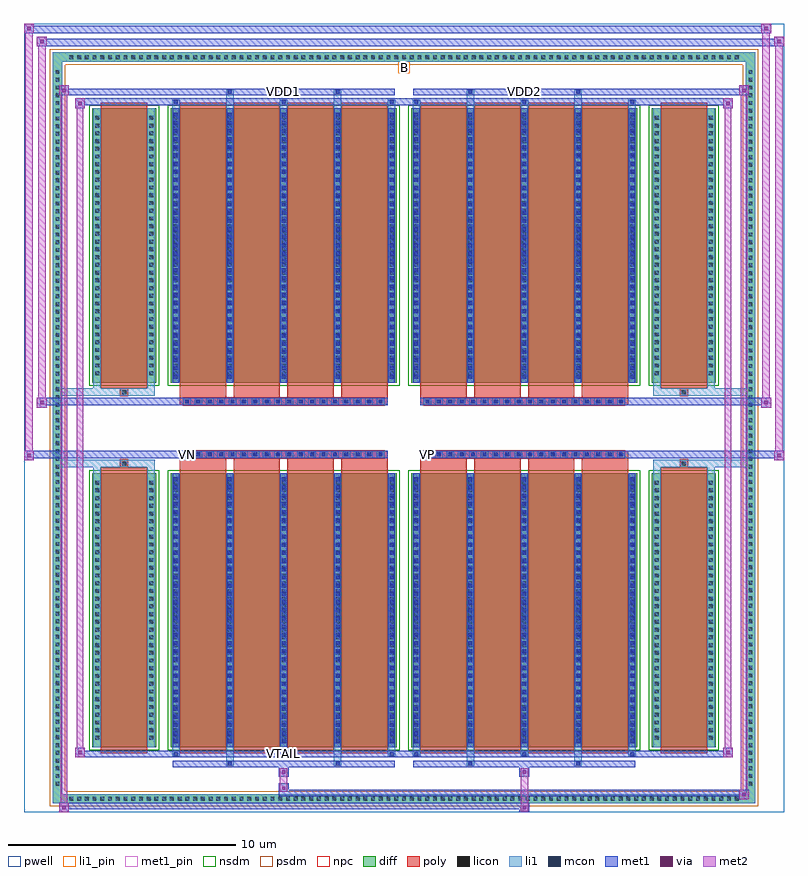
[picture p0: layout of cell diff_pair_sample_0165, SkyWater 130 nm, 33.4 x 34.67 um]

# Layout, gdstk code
import gdstk
lib = gdstk.Library(unit=1e-6, precision=5e-09)
def R(c, l, rs):  # rectangles x0, y0, x1, y1
    for r in rs: c.add(gdstk.rectangle(r[:2], r[2:], *l))
def A(c, l, x, y, w, h, nx, ny, dx, dy):  # array of equal rectangles
    R(c, l, [(x+i*dx, y+j*dy, x+i*dx+w, y+j*dy+h) for i in range(nx) for j in range(ny)])
def P(c, l, *ps):  # polygons
    for p in ps: c.add(gdstk.Polygon(p, *l))
pwell = (64, 44)
diff = (65, 20)
poly = (66, 20)
licon = (66, 44)
li1_pin = (67, 16)
li1 = (67, 20)
mcon = (67, 44)
met1_pin = (68, 16)
met1 = (68, 20)
via = (68, 44)
met2 = (69, 20)
nsdm = (93, 44)
psdm = (94, 20)
npc = (95, 20)

diff_pair_sample_0165 = lib.new_cell('diff_pair_sample_0165')
R(diff_pair_sample_0165, pwell, [(-16.7,-16.9,16.7,17.77), (-14.02,-15.09,-0.01,-0.795), (0.01,-15.09,14.02,-0.795), (-14.02,0.795,-0.01,15.09), (0.01,0.795,14.02,15.09)])
A(diff_pair_sample_0165, diff, -14.825, -16.5, 0.41, 0.41, 87, 2, 0.34, 32.59)
A(diff_pair_sample_0165, diff, -15.43, -15.845, 0.41, 0.41, 1, 93, 0, 0.34)
A(diff_pair_sample_0165, diff, 15.02, -15.845, 0.41, 0.41, 1, 93, 0, 0.34)
R(diff_pair_sample_0165, diff, [(-14.825,-16.5,14.825,-16.09), (-15.43,-15.845,-15.02,15.845), (15.02,-15.845,15.43,15.845), (-13.71,-14.045,-10.89,-1.985), (-10.25,-14.045,-0.32,-1.985), (0.32,-14.045,10.25,-1.985), (10.89,-14.045,13.71,-1.985), (-13.71,1.985,-10.89,14.045), (-10.25,1.985,-0.32,14.045), (0.32,1.985,10.25,14.045), (10.89,1.985,13.71,14.045), (-14.825,16.09,14.825,16.5)])
P(diff_pair_sample_0165, diff, [(15.43,16.5),(-15.43,16.5),(-15.43,-16.09),(-15.02,-16.09),(-15.02,16.09),(15.02,16.09),(15.02,-16.09),(-15.02,-16.09),(-15.43,-16.09),(-15.43,-16.5),(15.43,-16.5)])
A(diff_pair_sample_0165, poly, -9.86, -14.295, 2.04, 12.56, 4, 2, 2.37, 16.03)
A(diff_pair_sample_0165, poly, 0.71, -14.295, 2.04, 12.56, 4, 2, 2.37, 16.03)
A(diff_pair_sample_0165, poly, -9.86, -1.735, 2.04, 0.41, 4, 2, 2.37, 3.06)
A(diff_pair_sample_0165, poly, 0.71, -1.735, 2.04, 0.41, 4, 2, 2.37, 3.06)
A(diff_pair_sample_0165, poly, -9.7, -1.325, 0.33, 0.33, 18, 2, 0.5, 2.32)
A(diff_pair_sample_0165, poly, 0.87, -1.325, 0.33, 0.33, 18, 2, 0.5, 2.32)
R(diff_pair_sample_0165, poly, [(-13.32,-14.295,-11.28,-1.735), (11.28,-14.295,13.32,-1.735), (-12.465,-1.735,-12.135,-1.405), (-12.465,-1.735,-12.135,-1.405), (12.135,-1.735,12.465,-1.405), (12.135,-1.735,12.465,-1.405), (-9.86,-1.325,-0.71,-0.995), (0.71,-1.325,9.86,-0.995), (-9.86,0.995,-0.71,1.325), (0.71,0.995,9.86,1.325), (-12.465,1.405,-12.135,1.735), (-12.465,1.405,-12.135,1.735), (12.135,1.405,12.465,1.735), (12.135,1.405,12.465,1.735), (-13.32,1.735,-11.28,14.295), (11.28,1.735,13.32,14.295)])
A(diff_pair_sample_0165, licon, -14.705, -16.38, 0.17, 0.17, 87, 2, 0.34, 32.59)
A(diff_pair_sample_0165, licon, -15.31, -15.725, 0.17, 0.17, 1, 93, 0, 0.34)
A(diff_pair_sample_0165, licon, 15.14, -15.725, 0.17, 0.17, 1, 93, 0, 0.34)
A(diff_pair_sample_0165, licon, -13.57, -13.71, 0.17, 0.17, 1, 34, 0, 0.34)
A(diff_pair_sample_0165, licon, -11.2, -13.71, 0.17, 0.17, 1, 34, 0, 0.34)
A(diff_pair_sample_0165, licon, -10.11, -13.71, 0.17, 0.17, 5, 34, 2.37, 0.34)
A(diff_pair_sample_0165, licon, 0.46, -13.71, 0.17, 0.17, 5, 34, 2.37, 0.34)
A(diff_pair_sample_0165, licon, 11.03, -13.71, 0.17, 0.17, 1, 34, 0, 0.34)
A(diff_pair_sample_0165, licon, 13.4, -13.71, 0.17, 0.17, 1, 34, 0, 0.34)
A(diff_pair_sample_0165, licon, -9.62, -1.245, 0.17, 0.17, 18, 2, 0.5, 2.32)
A(diff_pair_sample_0165, licon, 0.95, -1.245, 0.17, 0.17, 18, 2, 0.5, 2.32)
A(diff_pair_sample_0165, licon, -13.57, 2.32, 0.17, 0.17, 1, 34, 0, 0.34)
A(diff_pair_sample_0165, licon, -11.2, 2.32, 0.17, 0.17, 1, 34, 0, 0.34)
A(diff_pair_sample_0165, licon, -10.11, 2.32, 0.17, 0.17, 5, 34, 2.37, 0.34)
A(diff_pair_sample_0165, licon, 0.46, 2.32, 0.17, 0.17, 5, 34, 2.37, 0.34)
A(diff_pair_sample_0165, licon, 11.03, 2.32, 0.17, 0.17, 1, 34, 0, 0.34)
A(diff_pair_sample_0165, licon, 13.4, 2.32, 0.17, 0.17, 1, 34, 0, 0.34)
R(diff_pair_sample_0165, licon, [(-12.385,-1.655,-12.215,-1.485), (12.215,-1.655,12.385,-1.485), (-12.385,1.485,-12.215,1.655), (12.215,1.485,12.385,1.655)])
R(diff_pair_sample_0165, li1_pin, [(-0.25,15.59,0.25,16.09)])
A(diff_pair_sample_0165, li1, -14.785, -16.46, 0.33, 0.33, 87, 2, 0.34, 32.59)
A(diff_pair_sample_0165, li1, -15.39, -15.805, 0.33, 0.33, 1, 93, 0, 0.34)
A(diff_pair_sample_0165, li1, 15.06, -15.805, 0.33, 0.33, 1, 93, 0, 0.34)
A(diff_pair_sample_0165, li1, -10.19, -14.42, 0.33, 0.375, 3, 2, 4.74, 28.465)
A(diff_pair_sample_0165, li1, -10.11, -14.42, 0.17, 0.17, 3, 2, 4.74, 28.67)
A(diff_pair_sample_0165, li1, 0.38, -14.42, 0.33, 0.375, 3, 2, 4.74, 28.465)
A(diff_pair_sample_0165, li1, 0.46, -14.42, 0.17, 0.17, 3, 2, 4.74, 28.67)
A(diff_pair_sample_0165, li1, -10.19, -14.045, 0.33, 12.06, 5, 2, 2.37, 16.03)
A(diff_pair_sample_0165, li1, 0.38, -14.045, 0.33, 12.06, 5, 2, 2.37, 16.03)
A(diff_pair_sample_0165, li1, -10.11, -13.86, 0.17, 0.17, 5, 33, 2.37, 0.36)
A(diff_pair_sample_0165, li1, -10.11, -13.86, 0.17, 11.69, 5, 2, 2.37, 16.03)
A(diff_pair_sample_0165, li1, 0.46, -13.86, 0.17, 0.17, 5, 33, 2.37, 0.36)
A(diff_pair_sample_0165, li1, 0.46, -13.86, 0.17, 11.69, 5, 2, 2.37, 16.03)
A(diff_pair_sample_0165, li1, -13.65, -13.79, 0.33, 0.33, 1, 34, 0, 0.34)
A(diff_pair_sample_0165, li1, -11.28, -13.79, 0.33, 0.33, 1, 34, 0, 0.34)
A(diff_pair_sample_0165, li1, -10.19, -13.79, 0.33, 0.33, 5, 34, 2.37, 0.34)
A(diff_pair_sample_0165, li1, 0.38, -13.79, 0.33, 0.33, 5, 34, 2.37, 0.34)
A(diff_pair_sample_0165, li1, 10.95, -13.79, 0.33, 0.33, 1, 34, 0, 0.34)
A(diff_pair_sample_0165, li1, 13.32, -13.79, 0.33, 0.33, 1, 34, 0, 0.34)
A(diff_pair_sample_0165, li1, -9.7, -1.325, 0.33, 0.33, 18, 2, 0.5, 2.32)
A(diff_pair_sample_0165, li1, 0.87, -1.325, 0.33, 0.33, 18, 2, 0.5, 2.32)
A(diff_pair_sample_0165, li1, -10.11, 2.17, 0.17, 0.17, 5, 33, 2.37, 0.36)
A(diff_pair_sample_0165, li1, 0.46, 2.17, 0.17, 0.17, 5, 33, 2.37, 0.36)
A(diff_pair_sample_0165, li1, -13.65, 2.24, 0.33, 0.33, 1, 34, 0, 0.34)
A(diff_pair_sample_0165, li1, -11.28, 2.24, 0.33, 0.33, 1, 34, 0, 0.34)
A(diff_pair_sample_0165, li1, -10.19, 2.24, 0.33, 0.33, 5, 34, 2.37, 0.34)
A(diff_pair_sample_0165, li1, 0.38, 2.24, 0.33, 0.33, 5, 34, 2.37, 0.34)
A(diff_pair_sample_0165, li1, 10.95, 2.24, 0.33, 0.33, 1, 34, 0, 0.34)
A(diff_pair_sample_0165, li1, 13.32, 2.24, 0.33, 0.33, 1, 34, 0, 0.34)
R(diff_pair_sample_0165, li1, [(-15.43,-16.5,-15.02,-16.09), (-15.43,-16.5,-15.02,-16.09), (-15.02,-16.5,15.02,-16.09), (15.02,-16.5,15.43,-16.09), (15.02,-16.5,15.43,-16.09), (-15.43,-16.09,-15.02,16.09), (15.02,-16.09,15.43,16.09), (-7.82,-14.85,-7.49,-14.045), (-7.74,-14.85,-7.57,-14.68), (-3.08,-14.85,-2.75,-14.045), (-3,-14.85,-2.83,-14.68), (2.75,-14.85,3.08,-14.045), (2.83,-14.85,3,-14.68), (7.49,-14.85,7.82,-14.045), (7.57,-14.85,7.74,-14.68), (-13.65,-14.045,-13.32,-1.985), (-11.28,-14.045,-10.95,-1.985), (10.95,-14.045,11.28,-1.985), (13.32,-14.045,13.65,-1.985), (-13.65,-1.985,-13.32,-1.405), (-11.28,-1.985,-10.95,-1.405), (10.95,-1.985,11.28,-1.405), (13.32,-1.985,13.65,-1.405), (-15.43,-1.735,-12.465,-1.405), (-13.65,-1.735,-12.465,-1.405), (-12.465,-1.735,-12.135,-1.405), (-12.135,-1.735,-10.95,-1.405), (10.95,-1.735,12.135,-1.405), (12.135,-1.735,12.465,-1.405), (12.135,-1.735,15.43,-1.405), (12.465,-1.735,13.65,-1.405), (-15.43,1.405,-12.465,1.735), (-13.65,1.405,-12.465,1.735), (-13.65,1.405,-13.32,1.985), (-12.465,1.405,-12.135,1.735), (-12.135,1.405,-10.95,1.735), (-11.28,1.405,-10.95,1.985), (10.95,1.405,12.135,1.735), (10.95,1.405,11.28,1.985), (12.135,1.405,12.465,1.735), (12.135,1.405,15.43,1.735), (12.465,1.405,13.65,1.735), (13.32,1.405,13.65,1.985), (-13.65,1.985,-13.32,14.045), (-11.28,1.985,-10.95,14.045), (10.95,1.985,11.28,14.045), (13.32,1.985,13.65,14.045), (-7.82,14.045,-7.49,14.85), (-3.08,14.045,-2.75,14.85), (2.75,14.045,3.08,14.85), (7.49,14.045,7.82,14.85), (-7.74,14.68,-7.57,14.85), (-3,14.68,-2.83,14.85), (2.83,14.68,3,14.85), (7.57,14.68,7.74,14.85), (-15.43,16.09,-15.02,16.5), (-15.43,16.09,-15.02,16.5), (-15.02,16.09,15.02,16.5), (15.02,16.09,15.43,16.5), (15.02,16.09,15.43,16.5)])
A(diff_pair_sample_0165, mcon, -10.11, -14.42, 0.17, 0.17, 3, 2, 4.74, 28.67)
A(diff_pair_sample_0165, mcon, 0.46, -14.42, 0.17, 0.17, 3, 2, 4.74, 28.67)
A(diff_pair_sample_0165, mcon, -10.11, -13.86, 0.17, 0.17, 5, 33, 2.37, 0.36)
A(diff_pair_sample_0165, mcon, 0.46, -13.86, 0.17, 0.17, 5, 33, 2.37, 0.36)
A(diff_pair_sample_0165, mcon, -9.62, -1.245, 0.17, 0.17, 18, 2, 0.5, 2.32)
A(diff_pair_sample_0165, mcon, 0.95, -1.245, 0.17, 0.17, 18, 2, 0.5, 2.32)
A(diff_pair_sample_0165, mcon, -10.11, 2.17, 0.17, 0.17, 5, 33, 2.37, 0.36)
A(diff_pair_sample_0165, mcon, 0.46, 2.17, 0.17, 0.17, 5, 33, 2.37, 0.36)
R(diff_pair_sample_0165, mcon, [(-7.74,-14.85,-7.57,-14.68), (-3,-14.85,-2.83,-14.68), (2.83,-14.85,3,-14.68), (7.57,-14.85,7.74,-14.68), (-7.74,14.68,-7.57,14.85), (-3,14.68,-2.83,14.85), (2.83,14.68,3,14.85), (7.57,14.68,7.74,14.85)])
R(diff_pair_sample_0165, met1_pin, [(-5.42,-14.46,-5.15,-14.19), (-9.67,-1.285,-9.4,-1.015), (0.9,-1.285,1.17,-1.015), (-5.42,14.64,-5.15,14.91), (5.15,14.64,5.42,14.91)])
A(diff_pair_sample_0165, met1, -10.17, -14.48, 0.29, 0.29, 3, 2, 4.74, 28.67)
A(diff_pair_sample_0165, met1, 0.4, -14.48, 0.29, 0.29, 3, 2, 4.74, 28.67)
A(diff_pair_sample_0165, met1, -10.17, -14.045, 0.29, 12.06, 5, 2, 2.37, 16.03)
A(diff_pair_sample_0165, met1, 0.4, -14.045, 0.29, 12.06, 5, 2, 2.37, 16.03)
A(diff_pair_sample_0165, met1, -10.17, -13.92, 0.29, 0.29, 5, 33, 2.37, 0.36)
A(diff_pair_sample_0165, met1, 0.4, -13.92, 0.29, 0.29, 5, 33, 2.37, 0.36)
A(diff_pair_sample_0165, met1, -9.68, -1.305, 0.29, 0.29, 18, 2, 0.5, 2.32)
A(diff_pair_sample_0165, met1, 0.89, -1.305, 0.29, 0.29, 18, 2, 0.5, 2.32)
A(diff_pair_sample_0165, met1, -10.17, 2.11, 0.29, 0.29, 5, 33, 2.37, 0.36)
A(diff_pair_sample_0165, met1, 0.4, 2.11, 0.29, 0.29, 5, 33, 2.37, 0.36)
R(diff_pair_sample_0165, met1, [(-15.16,-16.9,-14.73,-16.47), (5.07,-16.9,5.5,-16.47), (-15.16,-16.76,5.5,-16.47), (14.73,-16.33,15.16,-15.9), (-5.5,-16.19,15.16,-15.9), (-5.5,-16.05,-5.07,-15.62), (-5.5,-15.34,-5.07,-14.91), (5.07,-15.34,5.5,-14.91), (-10.17,-14.91,-0.4,-14.62), (-7.8,-14.91,-7.51,-14.62), (-3.06,-14.91,-2.77,-14.62), (0.4,-14.91,10.17,-14.62), (2.77,-14.91,3.06,-14.62), (7.51,-14.91,7.8,-14.62), (-14.45,-14.48,-14.02,-14.05), (-14.45,-14.48,-10.17,-14.19), (-10.17,-14.48,-0.4,-14.19), (-0.4,-14.48,0.4,-14.19), (0.4,-14.48,10.17,-14.19), (10.17,-14.48,14.45,-14.19), (14.02,-14.48,14.45,-14.05), (-16.7,-1.425,-16.27,-0.995), (16.27,-1.425,16.7,-0.995), (-16.7,-1.325,-0.71,-0.995), (-9.86,-1.325,-0.71,-0.995), (0.71,-1.325,9.86,-0.995), (0.71,-1.325,16.7,-0.995), (-16.13,0.895,-15.7,1.325), (15.7,0.895,16.13,1.325), (-16.13,0.995,-9.86,1.325), (-9.86,0.995,-0.71,1.325), (0.71,0.995,9.86,1.325), (9.86,0.995,16.13,1.325), (-14.45,14.05,-14.02,14.48), (14.02,14.05,14.45,14.48), (-14.45,14.19,-10.17,14.48), (-10.17,14.19,-0.4,14.48), (-0.4,14.19,0.4,14.48), (0.4,14.19,10.17,14.48), (10.17,14.19,14.45,14.48), (-15.16,14.62,-14.73,15.05), (-15.16,14.62,-10.17,14.91), (-10.17,14.62,-0.4,14.91), (-7.8,14.62,-7.51,14.91), (-3.06,14.62,-2.77,14.91), (0.4,14.62,10.17,14.91), (2.77,14.62,3.06,14.91), (7.51,14.62,7.8,14.91), (10.17,14.62,15.16,14.91), (14.73,14.62,15.16,15.05), (-16.13,16.77,-15.7,17.2), (-16.13,16.77,-14.02,17.1), (-14.02,16.77,14.02,17.1), (14.02,16.77,16.7,17.1), (16.27,16.77,16.7,17.2), (-16.7,17.34,-16.27,17.77), (-16.7,17.34,-14.02,17.67), (-14.02,17.34,14.02,17.67), (14.02,17.34,16.13,17.67), (15.7,17.34,16.13,17.77)])
R(diff_pair_sample_0165, via, [(-15.02,-16.76,-14.87,-16.61), (5.21,-16.76,5.36,-16.61), (14.87,-16.19,15.02,-16.04), (-5.36,-15.91,-5.21,-15.76), (-5.36,-15.2,-5.21,-15.05), (5.21,-15.2,5.36,-15.05), (-14.31,-14.34,-14.16,-14.19), (14.16,-14.34,14.31,-14.19), (-16.56,-1.285,-16.41,-1.135), (16.41,-1.285,16.56,-1.135), (-15.99,1.035,-15.84,1.185), (15.84,1.035,15.99,1.185), (-14.31,14.19,-14.16,14.34), (14.16,14.19,14.31,14.34), (-15.02,14.76,-14.87,14.91), (14.87,14.76,15.02,14.91), (-15.99,16.91,-15.84,17.06), (16.41,16.91,16.56,17.06), (-16.56,17.48,-16.41,17.63), (15.84,17.48,15.99,17.63)])
R(diff_pair_sample_0165, met2, [(-15.16,-16.9,-14.73,-16.47), (-15.09,-16.9,-14.8,15.05), (-14.8,-16.9,-14.73,-16.47), (-15.11,-16.85,-14.78,-16.52), (5.12,-16.85,5.45,-16.52), (5.12,-16.52,5.45,-15.29), (14.73,-16.33,15.16,-15.9), (14.8,-16.33,15.09,15.05), (15.09,-16.33,15.16,-15.9), (14.78,-16.28,15.11,-15.95), (-5.45,-16,-5.12,-15.67), (-5.45,-15.67,-5.12,-15.29), (-5.45,-15.29,-5.12,-14.96), (5.12,-15.29,5.45,-14.96), (-14.45,-14.48,-14.02,-14.05), (-14.38,-14.48,-14.09,14.48), (-14.09,-14.48,-14.02,-14.05), (14.02,-14.48,14.45,-14.05), (14.09,-14.48,14.38,14.48), (14.38,-14.48,14.45,-14.05), (-14.4,-14.43,-14.07,-14.1), (14.07,-14.43,14.4,-14.1), (-16.7,-1.425,-16.27,-0.995), (-16.65,-1.425,-16.32,17.77), (-16.32,-1.425,-16.27,-0.995), (16.27,-1.425,16.7,-0.995), (16.32,-1.425,16.65,17.2), (16.65,-1.425,16.7,-0.995), (-16.65,-1.375,-16.32,-1.045), (16.32,-1.375,16.65,-1.045), (-16.13,0.895,-15.7,1.325), (-16.08,0.895,-15.75,17.2), (-15.75,0.895,-15.7,1.325), (15.7,0.895,16.13,1.325), (15.75,0.895,16.08,17.77), (16.08,0.895,16.13,1.325), (-16.08,0.945,-15.75,1.275), (15.75,0.945,16.08,1.275), (-14.45,14.05,-14.02,14.48), (-14.09,14.05,-14.02,14.48), (14.02,14.05,14.45,14.48), (14.38,14.05,14.45,14.48), (-14.4,14.1,-14.07,14.43), (14.07,14.1,14.4,14.43), (-15.16,14.62,-14.73,15.05), (-14.8,14.62,-14.73,15.05), (14.73,14.62,15.16,15.05), (15.09,14.62,15.16,15.05), (-15.11,14.67,-14.78,15), (14.78,14.67,15.11,15), (-16.13,16.77,-15.7,17.2), (-15.75,16.77,-15.7,17.2), (16.27,16.77,16.7,17.2), (16.65,16.77,16.7,17.2), (-16.08,16.82,-15.75,17.15), (16.32,16.82,16.65,17.15), (-16.7,17.34,-16.27,17.77), (-16.32,17.34,-16.27,17.77), (15.7,17.34,16.13,17.77), (16.08,17.34,16.13,17.77), (-16.65,17.39,-16.32,17.72), (15.75,17.39,16.08,17.72)])
R(diff_pair_sample_0165, nsdm, [(-13.84,-14.175,-10.76,-1.855), (-10.38,-14.175,-0.19,-1.855), (0.19,-14.175,10.38,-1.855), (10.76,-14.175,13.84,-1.855), (-13.84,1.855,-10.76,14.175), (-10.38,1.855,-0.19,14.175), (0.19,1.855,10.38,14.175), (10.76,1.855,13.84,14.175)])
P(diff_pair_sample_0165, psdm, [(15.56,16.63),(-15.56,16.63),(-15.56,-15.96),(-14.89,-15.96),(-14.89,15.96),(14.89,15.96),(14.89,-15.96),(-14.89,-15.96),(-15.56,-15.96),(-15.56,-16.63),(15.56,-16.63)])
A(diff_pair_sample_0165, npc, -9.72, -1.345, 0.37, 0.37, 18, 2, 0.5, 2.32)
A(diff_pair_sample_0165, npc, 0.85, -1.345, 0.37, 0.37, 18, 2, 0.5, 2.32)
R(diff_pair_sample_0165, npc, [(-12.485,-1.755,-12.115,-1.385), (12.115,-1.755,12.485,-1.385), (-9.72,-1.345,-8.85,-0.975), (-9.72,-1.345,-8.85,-0.975), (-9.22,-1.345,-8.35,-0.975), (-9.22,-1.345,-8.35,-0.975), (-8.72,-1.345,-7.85,-0.975), (-8.72,-1.345,-7.85,-0.975), (-8.22,-1.345,-7.35,-0.975), (-8.22,-1.345,-7.35,-0.975), (-7.72,-1.345,-6.85,-0.975), (-7.72,-1.345,-6.85,-0.975), (-7.22,-1.345,-6.35,-0.975), (-7.22,-1.345,-6.35,-0.975), (-6.72,-1.345,-5.85,-0.975), (-6.72,-1.345,-5.85,-0.975), (-6.22,-1.345,-5.35,-0.975), (-6.22,-1.345,-5.35,-0.975), (-5.72,-1.345,-4.85,-0.975), (-5.72,-1.345,-4.85,-0.975), (-5.22,-1.345,-4.35,-0.975), (-5.22,-1.345,-4.35,-0.975), (-4.72,-1.345,-3.85,-0.975), (-4.72,-1.345,-3.85,-0.975), (-4.22,-1.345,-3.35,-0.975), (-4.22,-1.345,-3.35,-0.975), (-3.72,-1.345,-2.85,-0.975), (-3.72,-1.345,-2.85,-0.975), (-3.22,-1.345,-2.35,-0.975), (-3.22,-1.345,-2.35,-0.975), (-2.72,-1.345,-1.85,-0.975), (-2.72,-1.345,-1.85,-0.975), (-2.22,-1.345,-1.35,-0.975), (-2.22,-1.345,-1.35,-0.975), (-1.72,-1.345,-0.85,-0.975), (-1.72,-1.345,-0.85,-0.975), (0.85,-1.345,1.72,-0.975), (0.85,-1.345,1.72,-0.975), (1.35,-1.345,2.22,-0.975), (1.35,-1.345,2.22,-0.975), (1.85,-1.345,2.72,-0.975), (1.85,-1.345,2.72,-0.975), (2.35,-1.345,3.22,-0.975), (2.35,-1.345,3.22,-0.975), (2.85,-1.345,3.72,-0.975), (2.85,-1.345,3.72,-0.975), (3.35,-1.345,4.22,-0.975), (3.35,-1.345,4.22,-0.975), (3.85,-1.345,4.72,-0.975), (3.85,-1.345,4.72,-0.975), (4.35,-1.345,5.22,-0.975), (4.35,-1.345,5.22,-0.975), (4.85,-1.345,5.72,-0.975), (4.85,-1.345,5.72,-0.975), (5.35,-1.345,6.22,-0.975), (5.35,-1.345,6.22,-0.975), (5.85,-1.345,6.72,-0.975), (5.85,-1.345,6.72,-0.975), (6.35,-1.345,7.22,-0.975), (6.35,-1.345,7.22,-0.975), (6.85,-1.345,7.72,-0.975), (6.85,-1.345,7.72,-0.975), (7.35,-1.345,8.22,-0.975), (7.35,-1.345,8.22,-0.975), (7.85,-1.345,8.72,-0.975), (7.85,-1.345,8.72,-0.975), (8.35,-1.345,9.22,-0.975), (8.35,-1.345,9.22,-0.975), (8.85,-1.345,9.72,-0.975), (8.85,-1.345,9.72,-0.975), (-9.72,0.975,-8.85,1.345), (-9.72,0.975,-8.85,1.345), (-9.22,0.975,-8.35,1.345), (-9.22,0.975,-8.35,1.345), (-8.72,0.975,-7.85,1.345), (-8.72,0.975,-7.85,1.345), (-8.22,0.975,-7.35,1.345), (-8.22,0.975,-7.35,1.345), (-7.72,0.975,-6.85,1.345), (-7.72,0.975,-6.85,1.345), (-7.22,0.975,-6.35,1.345), (-7.22,0.975,-6.35,1.345), (-6.72,0.975,-5.85,1.345), (-6.72,0.975,-5.85,1.345), (-6.22,0.975,-5.35,1.345), (-6.22,0.975,-5.35,1.345), (-5.72,0.975,-4.85,1.345), (-5.72,0.975,-4.85,1.345), (-5.22,0.975,-4.35,1.345), (-5.22,0.975,-4.35,1.345), (-4.72,0.975,-3.85,1.345), (-4.72,0.975,-3.85,1.345), (-4.22,0.975,-3.35,1.345), (-4.22,0.975,-3.35,1.345), (-3.72,0.975,-2.85,1.345), (-3.72,0.975,-2.85,1.345), (-3.22,0.975,-2.35,1.345), (-3.22,0.975,-2.35,1.345), (-2.72,0.975,-1.85,1.345), (-2.72,0.975,-1.85,1.345), (-2.22,0.975,-1.35,1.345), (-2.22,0.975,-1.35,1.345), (-1.72,0.975,-0.85,1.345), (-1.72,0.975,-0.85,1.345), (0.85,0.975,1.72,1.345), (0.85,0.975,1.72,1.345), (1.35,0.975,2.22,1.345), (1.35,0.975,2.22,1.345), (1.85,0.975,2.72,1.345), (1.85,0.975,2.72,1.345), (2.35,0.975,3.22,1.345), (2.35,0.975,3.22,1.345), (2.85,0.975,3.72,1.345), (2.85,0.975,3.72,1.345), (3.35,0.975,4.22,1.345), (3.35,0.975,4.22,1.345), (3.85,0.975,4.72,1.345), (3.85,0.975,4.72,1.345), (4.35,0.975,5.22,1.345), (4.35,0.975,5.22,1.345), (4.85,0.975,5.72,1.345), (4.85,0.975,5.72,1.345), (5.35,0.975,6.22,1.345), (5.35,0.975,6.22,1.345), (5.85,0.975,6.72,1.345), (5.85,0.975,6.72,1.345), (6.35,0.975,7.22,1.345), (6.35,0.975,7.22,1.345), (6.85,0.975,7.72,1.345), (6.85,0.975,7.72,1.345), (7.35,0.975,8.22,1.345), (7.35,0.975,8.22,1.345), (7.85,0.975,8.72,1.345), (7.85,0.975,8.72,1.345), (8.35,0.975,9.22,1.345), (8.35,0.975,9.22,1.345), (8.85,0.975,9.72,1.345), (8.85,0.975,9.72,1.345), (-12.485,1.385,-12.115,1.755), (12.115,1.385,12.485,1.755)])
diff_pair_sample_0165.add(gdstk.Label('VTAIL', (-5.285,-14.325), layer=68, texttype=5))
diff_pair_sample_0165.add(gdstk.Label('VN', (-9.535,-1.15), layer=68, texttype=5))
diff_pair_sample_0165.add(gdstk.Label('VP', (1.035,-1.15), layer=68, texttype=5))
diff_pair_sample_0165.add(gdstk.Label('B', (0,15.84), layer=67, texttype=5))
diff_pair_sample_0165.add(gdstk.Label('VDD2', (5.285,14.775), layer=68, texttype=5))
diff_pair_sample_0165.add(gdstk.Label('VDD1', (-5.285,14.775), layer=68, texttype=5))

lib.write_gds('diff_pair_sample_0165.gds')
